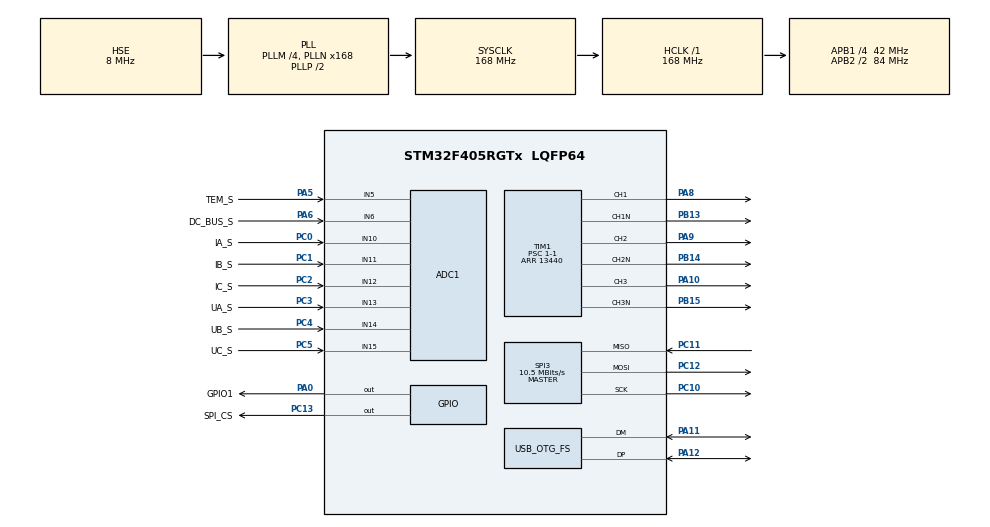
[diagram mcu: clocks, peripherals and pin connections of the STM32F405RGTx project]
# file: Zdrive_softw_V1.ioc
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ADC1.Channel-0\#ChannelRegularConversion=ADC_CHANNEL_13
ADC1.Channel-1\#ChannelRegularConversion=ADC_CHANNEL_14
ADC1.Channel-10\#ChannelInjectedConversion=ADC_CHANNEL_11
ADC1.Channel-11\#ChannelInjectedConversion=ADC_CHANNEL_12
ADC1.Channel-2\#ChannelRegularConversion=ADC_CHANNEL_15
ADC1.Channel-3\#ChannelRegularConversion=ADC_CHANNEL_5
ADC1.Channel-4\#ChannelRegularConversion=ADC_CHANNEL_6
ADC1.Channel-9\#ChannelInjectedConversion=ADC_CHANNEL_10
ADC1.ContinuousConvMode=DISABLE
ADC1.DiscontinuousConvMode=DISABLE
ADC1.ExternalTrigInjecConv=ADC_EXTERNALTRIGINJECCONV_T1_TRGO
ADC1.InjNumberOfConversion=3
ADC1.InjectedOffset-10\#ChannelInjectedConversion=0
ADC1.InjectedOffset-11\#ChannelInjectedConversion=0
ADC1.InjectedOffset-9\#ChannelInjectedConversion=0
ADC1.InjectedRank-10\#ChannelInjectedConversion=2
ADC1.InjectedRank-11\#ChannelInjectedConversion=3
ADC1.InjectedRank-9\#ChannelInjectedConversion=1
ADC1.NbrOfConversion=5
ADC1.NbrOfConversionFlag=1
ADC1.Rank-0\#ChannelRegularConversion=1
ADC1.Rank-1\#ChannelRegularConversion=2
ADC1.Rank-2\#ChannelRegularConversion=3
ADC1.Rank-3\#ChannelRegularConversion=4
ADC1.Rank-4\#ChannelRegularConversion=5
ADC1.SamplingTime-0\#ChannelRegularConversion=ADC_SAMPLETIME_15CYCLES
ADC1.SamplingTime-1\#ChannelRegularConversion=ADC_SAMPLETIME_15CYCLES
ADC1.SamplingTime-10\#ChannelInjectedConversion=ADC_SAMPLETIME_15CYCLES
ADC1.SamplingTime-11\#ChannelInjectedConversion=ADC_SAMPLETIME_15CYCLES
ADC1.SamplingTime-2\#ChannelRegularConversion=ADC_SAMPLETIME_15CYCLES
ADC1.SamplingTime-3\#ChannelRegularConversion=ADC_SAMPLETIME_15CYCLES
ADC1.SamplingTime-4\#ChannelRegularConversion=ADC_SAMPLETIME_15CYCLES
ADC1.SamplingTime-9\#ChannelInjectedConversion=ADC_SAMPLETIME_15CYCLES
ADC1.ScanConvMode=ENABLE
ADC1.master=1
Dma.ADC1.0.Direction=DMA_PERIPH_TO_MEMORY
Dma.ADC1.0.FIFOMode=DMA_FIFOMODE_DISABLE
Dma.ADC1.0.Instance=DMA2_Stream0
Dma.ADC1.0.MemDataAlignment=DMA_MDATAALIGN_WORD
Dma.ADC1.0.MemInc=DMA_MINC_ENABLE
Dma.ADC1.0.Mode=DMA_CIRCULAR
Dma.ADC1.0.PeriphDataAlignment=DMA_PDATAALIGN_WORD
Dma.ADC1.0.PeriphInc=DMA_PINC_DISABLE
Dma.ADC1.0.Priority=DMA_PRIORITY_LOW
Dma.Request0=ADC1
Mcu.Family=STM32F4
Mcu.Name=STM32F405RGTx
Mcu.Package=LQFP64
NVIC.ADC_IRQn=true\:0\:0\:true\:false\:true\:true\:true\:true
NVIC.DMA2_Stream0_IRQn=true\:0\:0\:false\:false\:true\:false\:true\:true
NVIC.OTG_FS_IRQn=true\:0\:0\:false\:false\:true\:false\:true\:true
NVIC.PriorityGroup=NVIC_PRIORITYGROUP_4
NVIC.TIM1_UP_TIM10_IRQn=true\:0\:0\:false\:false\:true\:true\:true\:true
PA0-WKUP.GPIO_Label=GPIO1
PA0-WKUP.Signal=GPIO_Output
PA10.Signal=S_TIM1_CH3
PA11.Mode=Device_Only
PA11.Signal=USB_OTG_FS_DM
PA12.Mode=Device_Only
PA12.Signal=USB_OTG_FS_DP
PA13.Mode=Serial_Wire
PA13.Signal=SYS_JTMS-SWDIO
PA14.Mode=Serial_Wire
PA14.Signal=SYS_JTCK-SWCLK
PA5.GPIO_Label=TEM_S
PA5.Signal=ADCx_IN5
PA6.GPIO_Label=DC_BUS_S
PA6.Signal=ADCx_IN6
PA8.Signal=S_TIM1_CH1
PA9.Signal=S_TIM1_CH2
PB13.Mode=PWM Generation1 CH1 CH1N
PB13.Signal=TIM1_CH1N
PB14.Mode=PWM Generation2 CH2 CH2N
PB14.Signal=TIM1_CH2N
PB15.Mode=PWM Generation3 CH3 CH3N
PB15.Signal=TIM1_CH3N
PC0.GPIO_Label=IA_S
PC0.Signal=ADCx_IN10
PC1.GPIO_Label=IB_S
PC1.Signal=ADCx_IN11
PC10.Mode=Full_Duplex_Master
PC10.Signal=SPI3_SCK
PC11.Mode=Full_Duplex_Master
PC11.Signal=SPI3_MISO
PC12.Mode=Full_Duplex_Master
PC12.Signal=SPI3_MOSI
PC13-ANTI_TAMP.GPIO_Label=SPI_CS
PC13-ANTI_TAMP.PinState=GPIO_PIN_SET
PC13-ANTI_TAMP.Signal=GPIO_Output
PC2.GPIO_Label=IC_S
PC2.Signal=ADCx_IN12
PC3.GPIO_Label=UA_S
PC3.Signal=ADCx_IN13
PC4.GPIO_Label=UB_S
PC4.Signal=ADCx_IN14
PC5.GPIO_Label=UC_S
PC5.Signal=ADCx_IN15
PH0-OSC_IN.Mode=HSE-External-Oscillator
PH0-OSC_IN.Signal=RCC_OSC_IN
PH1-OSC_OUT.Mode=HSE-External-Oscillator
PH1-OSC_OUT.Signal=RCC_OSC_OUT
ProjectManager.HeapSize=0x1000
ProjectManager.StackSize=0x1500
ProjectManager.TargetToolchain=MDK-ARM V5.32
RCC.48MHZClocksFreq_Value=48000000
RCC.AHBFreq_Value=168000000
RCC.APB1CLKDivider=RCC_HCLK_DIV4
RCC.APB1Freq_Value=42000000
RCC.APB1TimFreq_Value=84000000
RCC.APB2CLKDivider=RCC_HCLK_DIV2
RCC.APB2Freq_Value=84000000
RCC.APB2TimFreq_Value=168000000
RCC.CortexFreq_Value=168000000
RCC.EnbaleCSS=true
RCC.HCLKFreq_Value=168000000
RCC.HSE_VALUE=8000000
RCC.HSI_VALUE=16000000
RCC.LSE_VALUE=32768
RCC.PLLM=4
RCC.PLLN=168
RCC.PLLQ=7
RCC.SYSCLKFreq_VALUE=168000000
RCC.SYSCLKSource=RCC_SYSCLKSOURCE_PLLCLK
RCC.VCOOutputFreq_Value=336000000
SH.ADCx_IN10.0=ADC1_IN10,IN10
SH.ADCx_IN11.0=ADC1_IN11,IN11
SH.ADCx_IN12.0=ADC1_IN12,IN12
SH.ADCx_IN13.0=ADC1_IN13,IN13
SH.ADCx_IN14.0=ADC1_IN14,IN14
SH.ADCx_IN15.0=ADC1_IN15,IN15
SH.ADCx_IN5.0=ADC1_IN5,IN5
SH.ADCx_IN6.0=ADC1_IN6,IN6
SH.S_TIM1_CH1.0=TIM1_CH1,PWM Generation1 CH1 CH1N
SH.S_TIM1_CH2.0=TIM1_CH2,PWM Generation2 CH2 CH2N
SH.S_TIM1_CH3.0=TIM1_CH3,PWM Generation3 CH3 CH3N
SPI3.BaudRatePrescaler=SPI_BAUDRATEPRESCALER_4
SPI3.CLKPhase=SPI_PHASE_2EDGE
SPI3.CalculateBaudRate=10.5 MBits/s
SPI3.DataSize=SPI_DATASIZE_16BIT
SPI3.Direction=SPI_DIRECTION_2LINES
SPI3.Mode=SPI_MODE_MASTER
SPI3.VirtualType=VM_MASTER
STMicroelectronics.X-CUBE-ALGOBUILD.1.3.0.LibraryCcDSPOoLibraryJjDSPOoLibrary=true
TIM1.AutoReloadPreload=TIM_AUTORELOAD_PRELOAD_DISABLE
TIM1.AutomaticOutput=TIM_AUTOMATICOUTPUT_DISABLE
TIM1.BreakState=TIM_BREAK_DISABLE
TIM1.Channel-PWM\ Generation1\ CH1\ CH1N=TIM_CHANNEL_1
TIM1.Channel-PWM\ Generation2\ CH2\ CH2N=TIM_CHANNEL_2
TIM1.Channel-PWM\ Generation3\ CH3\ CH3N=TIM_CHANNEL_3
TIM1.ClockDivision=TIM_CLOCKDIVISION_DIV1
TIM1.CounterMode=TIM_COUNTERMODE_CENTERALIGNED1
TIM1.DeadTime=0xCA
TIM1.OCMode_PWM-PWM\ Generation1\ CH1\ CH1N=TIM_OCMODE_PWM2
TIM1.OCMode_PWM-PWM\ Generation2\ CH2\ CH2N=TIM_OCMODE_PWM2
TIM1.OCMode_PWM-PWM\ Generation3\ CH3\ CH3N=TIM_OCMODE_PWM2
TIM1.Period=13440
TIM1.Prescaler=1-1
TIM1.Pulse-PWM\ Generation1\ CH1\ CH1N=500
TIM1.Pulse-PWM\ Generation2\ CH2\ CH2N=500
TIM1.Pulse-PWM\ Generation3\ CH3\ CH3N=500
TIM1.TIM_MasterOutputTrigger=TIM_TRGO_UPDATE
TIM1.TIM_MasterSlaveMode=TIM_MASTERSLAVEMODE_DISABLE
USB_DEVICE.CLASS_NAME_FS=CDC
USB_DEVICE.VirtualMode-CDC_FS=Cdc
USB_DEVICE.VirtualModeFS=Cdc_FS
USB_OTG_FS.VirtualMode=Device_Only
VP_STMicroelectronics.X-CUBE-ALGOBUILD_VS_DSPOoLibraryJjLibrary_1.3.0_1.3.0.Mode=DSPOoLibraryJjLibrary
VP_TIM1_VS_ClockSourceINT.Mode=Internal
VP_USB_DEVICE_VS_USB_DEVICE_CDC_FS.Mode=CDC_FS
board=custom

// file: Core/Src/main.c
/* USER CODE BEGIN Header */
/**
  ******************************************************************************
  * @file           : main.c
  * @brief          : Main program body
  ******************************************************************************
  * @attention
  *
  * Copyright (c) 2024 STMicroelectronics.
  * All rights reserved.
  *
  * This software is licensed under terms that can be found in the LICENSE file
  * in the root directory of this software component.
  * If no LICENSE file comes with this software, it is provided AS-IS.
  *
  ******************************************************************************
  */
/* USER CODE END Header */
#include "main.h"
#include "adc.h"
#include "dma.h"
#include "spi.h"
#include "tim.h"
#include "usb_device.h"
#include "gpio.h"

/* USER CODE BEGIN Includes */
#include "usbd_cdc_if.h"
#include "stdbool.h"
#include "motorcontrol.h"
#include "arm_math.h"
#include "as5047p.h"
/* USER CODE END Includes */

/* USER CODE BEGIN PTD */
extern const float one_div_sq_three;
extern const uint32_t ARR;
/* USER CODE END PTD */

/* USER CODE BEGIN PV */
	AS5047P_Instance encInstanceA = {0};
  AS5047P_Result errorcode;
/* USER CODE END PV */

void SystemClock_Config(void);

/* USER CODE BEGIN 0 */
uint32_t tmp=0,tmp_1=0,tmp_2=0;
int16_t tmp_int16;
float f_e=0,a,b,c,x,y,mo;
bool guzhang=false;
//uint32_t adc_v[100];
typedef union
{
	float v_float;
	uint8_t v_u8[4];
} vofa_data;
vofa_data test_vofa;
vofa_data vofa_tail;
vofa_data data_len[100];
uint8_t len=3;
uint8_t state=0;

uint32_t adc_data[8],cnt;

float theta_m_big,theta_m_big_pre=-1,vel_m_big,del_pos_sum,del_theta;
bool first=true;
float iq_zero_vel[2048];
int index_pos=0;
volatile bool is_still=false;int still_time=0;
int status=0;	//0

/* USER CODE END 0 */

int main(void)
{

  /* MCU Configuration--------------------------------------------------------*/

  /* Reset of all peripherals, Initializes the Flash interface and the Systick. */
  HAL_Init();

  /* Configure the system clock */
  SystemClock_Config();

  /* Initialize all configured peripherals */
  MX_GPIO_Init();
  MX_DMA_Init();
  MX_TIM1_Init();
  MX_ADC1_Init();
  MX_USB_DEVICE_Init();
  MX_SPI3_Init();
  /* USER CODE BEGIN 2 */

  AS5047P_Init(&encInstanceA, 0); // Bind encoder with id = 0
	(&encInstanceA)->zeroPosCalibrated = true;
//	Load_tx_buffer();
//	HAL_GPIO_WritePin(SPI_CS_GPIO_Port, SPI_CS_Pin, 0x00);

	/*PWM PARA
	//period 				160us
	//Dead time			2us
	*/
	HAL_TIM_Base_Start(&htim1);
	HAL_TIM_PWM_Start(&htim1,	TIM_CHANNEL_1);
	HAL_TIMEx_PWMN_Start(&htim1,	TIM_CHANNEL_1);
	HAL_TIM_PWM_Start(&htim1,	TIM_CHANNEL_2);
	HAL_TIMEx_PWMN_Start(&htim1,	TIM_CHANNEL_2);
	HAL_TIM_PWM_Start(&htim1,	TIM_CHANNEL_3);
	HAL_TIMEx_PWMN_Start(&htim1,	TIM_CHANNEL_3);

	__HAL_TIM_SetCompare(&htim1,	TIM_CHANNEL_3,1500);//U
	__HAL_TIM_SetCompare(&htim1,	TIM_CHANNEL_2,1500);//V
	__HAL_TIM_SetCompare(&htim1,	TIM_CHANNEL_1,1500);//W

	HAL_ADCEx_InjectedStart_IT(&hadc1);

	vofa_tail.v_u8[0]=0x00;
	vofa_tail.v_u8[1]=0x00;
	vofa_tail.v_u8[2]=0x80;
	vofa_tail.v_u8[3]=0x7f;
//	float test_f=0;

//	id_ref=1.5;
//	iq_ref=0;
	float band_width_cur=10000;	//10000		rise-time 1ms
	kp_d=Ld*band_width_cur;
	ki_d=R*band_width_cur;
	kp_q=Lq*band_width_cur;
	ki_q=R*band_width_cur;

	float band_width_vel=600;
	kp_vel=band_width_vel;
	ki_vel=kp_vel*band_width_vel*0.2;
	vel_ref=20*2*pi/60;//10rpm

	kp_pos=5;
	pos_ref=0;			//rad
	del_pos_sum=0;	//rad
	index_pos=0;		//pulse  2048max
	//zero pos init
//	if(encPositionA<1024)
//		pos_ref=(0-encPositionA)*pulse_to_rad;
//	else
//		pos_ref=(2048-encPositionA)*pulse_to_rad;
//	pos_abs+=pos_ref;

  /* USER CODE END 2 */

  /* Infinite loop */
  /* USER CODE BEGIN WHILE */
//	HAL_Delay(10);		//initial pos hatch
//	status=1;
//	while(1)
//	{
//		if(is_still)
//			break;
//		status=99;
//	}
//		status=1;

	del_pos_sum=(0-encPositionA)*pulse_to_rad;

  while (1)
  {
    /* USER CODE END WHILE */

    /* USER CODE BEGIN 3 */

//////		//get anticogging table
//////		if(is_still&&index_pos<2048)
//////		{
//////				int ccw_dis=(encPositionA-index_pos+2048)%2048;
////////				if(ccw_dis<=1||ccw_dis>=2047)
//////				if(ccw_dis==0)
//////				{
//////					iq_zero_vel[index_pos]=iq;
//////					index_pos++;
//////					if(index_pos<2048)
//////						del_pos_sum=(index_pos-encPositionA)*pulse_to_rad;
//////				}
//////				else
//////				{
//////					del_pos_sum=(index_pos-encPositionA)*pulse_to_rad;
//////				}
//////		}
//////		else if(index_pos>=2048&&status==0)
//////		{
//////			HAL_TIM_Base_Stop(&htim1);
//////			HAL_TIM_Base_Stop(&htim1);
//////			HAL_TIM_PWM_Stop(&htim1,	TIM_CHANNEL_1);
//////			HAL_TIMEx_PWMN_Stop(&htim1,	TIM_CHANNEL_1);
//////			HAL_TIM_PWM_Stop(&htim1,	TIM_CHANNEL_2);
//////			HAL_TIMEx_PWMN_Stop(&htim1,	TIM_CHANNEL_2);
//////			HAL_TIM_PWM_Stop(&htim1,	TIM_CHANNEL_3);
//////			HAL_TIMEx_PWMN_Stop(&htim1,	TIM_CHANNEL_3);
//////			for(int i=0;i<2048;++i)
//////			{
//////				data_len[0].v_float=i;
//////				data_len[1].v_float=iq_zero_vel[i];
//////				data_len[2].v_float=0;
//////				data_len[3]=vofa_tail;
//////				state=CDC_Transmit_FS((uint8_t*)data_len, (len+1)*4);
//////				HAL_Delay(5);
//////			}
//////			HAL_Delay(30000);
////////			status=1;
//////		}
//////
//////		HAL_Delay(500);
//		HAL_GPIO_WritePin(GPIO1_GPIO_Port, GPIO1_Pin,GPIO_PIN_RESET);

//		IA=((float)adc_v[0]/4096*3.3-1.65)*25;
//		IB=((float)adc_v[1]/4096*3.3-1.65)*25;
//		IC=((float)adc_v[2]/4096*3.3-1.65)*25;
//		UA=((float)adc_v[3]/4096*3.3)*11;
//		UB=((float)adc_v[4]/4096*3.3)*11;
//		UC=((float)adc_v[5]/4096*3.3)*11;
//		Tem=((float)adc_v[6]/4096*3.3);
//		DC_BUS=((float)adc_v[7]/4096*3.3)*11;
//		data_len[0].v_float=IA;
//		data_len[1].v_float=IB;
//		data_len[2].v_float=IC;
//		data_len[3].v_float=UA;
//		data_len[4].v_float=UB;
//		data_len[5].v_float=UC;
//		data_len[6].v_float=Tem;
//		data_len[7].v_float=DC_BUS;
//		data_len[8]=vofa_tail;
//		state=CDC_Transmit_FS((uint8_t*)data_len, (len+1)*4);
//		test_vofa.v_float=test_f;
//		state=CDC_Transmit_FS(test_vofa.v_u8, 4);
//		test_f+=0.1;
//		if(test_f>500)
//			test_f=0;
  }
  /* USER CODE END 3 */
}

void SystemClock_Config(void)
{
  RCC_OscInitTypeDef RCC_OscInitStruct = {0};
  RCC_ClkInitTypeDef RCC_ClkInitStruct = {0};

  /** Configure the main internal regulator output voltage
  */
  __HAL_RCC_PWR_CLK_ENABLE();
  __HAL_PWR_VOLTAGESCALING_CONFIG(PWR_REGULATOR_VOLTAGE_SCALE1);

  /** Initializes the RCC Oscillators according to the specified parameters
  * in the RCC_OscInitTypeDef structure.
  */
  RCC_OscInitStruct.OscillatorType = RCC_OSCILLATORTYPE_HSE;
  RCC_OscInitStruct.HSEState = RCC_HSE_ON;
  RCC_OscInitStruct.PLL.PLLState = RCC_PLL_ON;
  RCC_OscInitStruct.PLL.PLLSource = RCC_PLLSOURCE_HSE;
  RCC_OscInitStruct.PLL.PLLM = 4;
  RCC_OscInitStruct.PLL.PLLN = 168;
  RCC_OscInitStruct.PLL.PLLP = RCC_PLLP_DIV2;
  RCC_OscInitStruct.PLL.PLLQ = 7;
  if (HAL_RCC_OscConfig(&RCC_OscInitStruct) != HAL_OK)
  {
    Error_Handler();
  }

  /** Initializes the CPU, AHB and APB buses clocks
  */
  RCC_ClkInitStruct.ClockType = RCC_CLOCKTYPE_HCLK|RCC_CLOCKTYPE_SYSCLK
                              |RCC_CLOCKTYPE_PCLK1|RCC_CLOCKTYPE_PCLK2;
  RCC_ClkInitStruct.SYSCLKSource = RCC_SYSCLKSOURCE_PLLCLK;
  RCC_ClkInitStruct.AHBCLKDivider = RCC_SYSCLK_DIV1;
  RCC_ClkInitStruct.APB1CLKDivider = RCC_HCLK_DIV4;
  RCC_ClkInitStruct.APB2CLKDivider = RCC_HCLK_DIV2;

  if (HAL_RCC_ClockConfig(&RCC_ClkInitStruct, FLASH_LATENCY_5) != HAL_OK)
  {
    Error_Handler();
  }

  /** Enables the Clock Security System
  */
  HAL_RCC_EnableCSS();
}

/* USER CODE BEGIN 4 */
//injected adc conversion finished call back
//timer1 update trigs adc
void HAL_ADCEx_InjectedConvCpltCallback(ADC_HandleTypeDef* hadc)
{
	cnt=__HAL_TIM_GET_COUNTER(&htim1);
//	if(tmp<(1<<20))
		tmp++;

//	if(tmp<40000)//about 1s
//		vel_ref=0;
//	else
//		vel_ref=60*2*pi/60;//10rpm

	//downflow  measuring current and FOC
	if(cnt<(htim1.Init.Period >>1))
	{
		tmp_1++;
//		HAL_GPIO_WritePin(GPIO1_GPIO_Port, GPIO1_Pin,GPIO_PIN_SET);
		ia_u32=HAL_ADCEx_InjectedGetValue(&hadc1,ADC_INJECTED_RANK_1);
		ib_u32=HAL_ADCEx_InjectedGetValue(&hadc1,ADC_INJECTED_RANK_2);
		ic_u32=HAL_ADCEx_InjectedGetValue(&hadc1,ADC_INJECTED_RANK_3);

//		ia=((float)ia_u32/4096*3.3-1.65)*25-(-13.555);
//		ib=((float)ib_u32/4096*3.3-1.65)*25-(-11.279);
//		ic=((float)ic_u32/4096*3.3-1.65)*25-(-12.528);
		ia=(3.3*ia_u32/4096-1.65)*25-(ia_carli);
		ib=(3.3*ib_u32/4096-1.65)*25-(ib_carli);
		ic=(3.3*ic_u32/4096-1.65)*25-(ic_carli);
		ia*=-1.0;ib*=-1.0;ic*=-1.0;

//		encPositionA = AS5047P_ReadPosition(&encInstanceA, AS5047P_OPT_ENABLED);
//		theta_m=(float)encPositionA;

//		theta_e=0;
//		theta_e+=0.005;
//		if(theta_e>=2*pi)
//			theta_e-=2*pi;

//		HAL_GPIO_WritePin(GPIO1_GPIO_Port, GPIO1_Pin,GPIO_PIN_SET);
//		encPositionA = AS5047P_ReadPosition(&encInstanceA, AS5047P_OPT_ENABLED);
//		theta_m=((float)encPositionA)*pulse_to_rad;//rad
//		HAL_GPIO_WritePin(GPIO1_GPIO_Port, GPIO1_Pin,GPIO_PIN_RESET);

		if((tmp_1&0x0000000F)==0)
		{
//						if(del_pos_sum>pi)		del_pos_sum-=2*pi;
//						if(del_pos_sum<-pi)		del_pos_sum+=2*pi;
//						pos_ref=del_pos_sum;
//						del_pos_sum=0;
//						pos_loop();
						speed_loop();
		}
		current_loop();

		//0rad---0x21DE		polarity same
//		tmp_u16=encPositionA;
//		encPositionA = AS5047P_GetAngle_Dir(&encInstanceA);

//		data_len[0].v_float=(float)encPositionA;
//		data_len[1].v_float=theta_m;
//		data_len[2].v_float=vel_fil;
//		data_len[3]=vofa_tail;
//		state=CDC_Transmit_FS((uint8_t*)data_len, (len+1)*4);
//		HAL_GPIO_WritePin(GPIO1_GPIO_Port, GPIO1_Pin,GPIO_PIN_RESET);
	}
	//upflow  measuring carlibration current
	else
	{
				tmp_2++;
//		HAL_GPIO_WritePin(GPIO1_GPIO_Port, GPIO1_Pin,GPIO_PIN_RESET);
		ia_carli_u32=HAL_ADCEx_InjectedGetValue(&hadc1,ADC_INJECTED_RANK_1);
		ib_carli_u32=HAL_ADCEx_InjectedGetValue(&hadc1,ADC_INJECTED_RANK_2);
		ic_carli_u32=HAL_ADCEx_InjectedGetValue(&hadc1,ADC_INJECTED_RANK_3);
//
		ia_carli=(3.3*ia_carli_u32/4096-1.65)*25;
		ib_carli=(3.3*ib_carli_u32/4096-1.65)*25;
		ic_carli=(3.3*ic_carli_u32/4096-1.65)*25;

		encPositionA = AS5047P_ReadPosition(&encInstanceA, AS5047P_OPT_ENABLED);
		encPositionA = encPositionA>>3;
		if( AS5047P_ErrorPending(&encInstanceA) )
     {
			 errorcode=AS5047P_GetError(&encInstanceA).errorCode;
     }

		 theta_m=(float)encPositionA*pulse_to_rad;	//11bit  2048pulse/r

		 //iq average	10num

		 if((tmp_2&(0x0000000F))==0) //trigger period 16*cycle
		 {
			 if(theta_m_pre!=-1)
			{
			 del_theta=theta_m-theta_m_pre;
			 //cross zero point
			 if(del_theta>pi)		del_theta-=2*pi;
			 if(del_theta<-pi)	del_theta+=2*pi;

				//cal if is still

				if(pos_ref!=0)
				{
					is_still=false;
					still_time=0;
				}
				else
				{
					if(still_time<=100)
					{
						is_still=false;
						still_time++;
					}
					else
					{
						is_still=true;
					}
				}

			 vel_m=del_theta*one_div_cycle/16;//rad/s  T=160us  decrease high frequency noise

			 //vel filter
			 //wc=1000Hz  a=Ts*wc=0.16
			 float a=0.6;
			 vel_fil=a*vel_m+(1-a)*vel_fil_pre;
			 vel_fil_pre=vel_fil;
			}
			theta_m_pre=theta_m;
		 }

		if((tmp_2&(0x0000000F))==0) //trigger period 16*cycle
		{
//			HAL_GPIO_TogglePin(GPIO1_GPIO_Port, GPIO1_Pin);
		data_len[0].v_float=vel_ref;
		data_len[1].v_float=vel_fil;
		data_len[2].v_float=iq;
		data_len[3]=vofa_tail;
		state=CDC_Transmit_FS((uint8_t*)data_len, (len+1)*4);
		}
//		HAL_GPIO_WritePin(GPIO1_GPIO_Port, GPIO1_Pin,GPIO_PIN_RESET);
	}

}

// timer(pwm) interrupt callback function
// control code
//void HAL_TIM_PeriodElapsedCallback(TIM_HandleTypeDef *htim)
//{
//  /* Prevent unused argument(s) compilation warning */
//  HAL_GPIO_TogglePin(GPIO1_GPIO_Port, GPIO1_Pin);
//	tmp++;
////	HAL_ADC_Start_DMA(&hadc1,adc_data,8);
//
//
////	//check clark-park
////	theta_e+=0.01;//2^20
////	if(theta_e>=2*pi)
////		theta_e-=2*pi;
////	float ia,ib,ic;
////	ia=cos(theta_e);
////	ib=cos(theta_e-2*pi/3);
////	ic=cos(theta_e+2*pi/3);
////
////	struct tri_vector cur_abc_v1={ia,ib,ic,true};
////	struct tri_vector cur_dq_v1;
////	cur_dq_v1=Clark_Park_Tf(cur_abc_v1,theta_e);
////	data_len[0].v_float=cur_abc_v1.fir;
////	data_len[1].v_float=cur_abc_v1.sec;
////	data_len[2].v_float=cur_abc_v1.thi;
////	data_len[3].v_float=cur_dq_v1.fir;
////	data_len[4].v_float=cur_dq_v1.sec;
////	data_len[5]=vofa_tail;
////	state=CDC_Transmit_FS((uint8_t*)data_len, (len+1)*4);
//
//	/*V-F mode
//	if(f_e<15)
//		f_e+=0.000125;
//	theta_e+=0.36*f_e;//2^20
//	if(theta_e>=360.0)
//		theta_e-=360;
//	float theta_e_rad=theta_e*2*pi/360;
//	mo=0.02*f_e;
//	x=(float)cos(theta_e_rad)*mo;
//	y=(float)sin(theta_e_rad)*mo;
//	struct tri_vector v=SVPWM( x,y);
//	a=v.fir;b=v.sec;c=v.thi;
//	if(v.sta)
//	{
//			__HAL_TIM_SetCompare(&htim1,	TIM_CHANNEL_3,(uint32_t)(ARR*(1-v.fir)));//U
//			__HAL_TIM_SetCompare(&htim1,	TIM_CHANNEL_2,(uint32_t)(ARR*(1-v.sec)));//V
//			__HAL_TIM_SetCompare(&htim1,	TIM_CHANNEL_1,(uint32_t)(ARR*(1-v.thi)));//W
//	}
//	else
//		guzhang=true;
//
//		data_len[0].v_float=a;
//		data_len[1].v_float=b;
//		data_len[2].v_float=c;
//		data_len[3]=vofa_tail;
//		state=CDC_Transmit_FS((uint8_t*)data_len, (len+1)*4);
//		*/
//
//
//
//  /* NOTE : This function should not be modified, when the callback is needed,
//            the HAL_TIM_IC_CaptureCallback could be implemented in the user file
//   */
//}
/* USER CODE END 4 */

void Error_Handler(void)
{
  __disable_irq();
  while (1)
  {
  }
}
